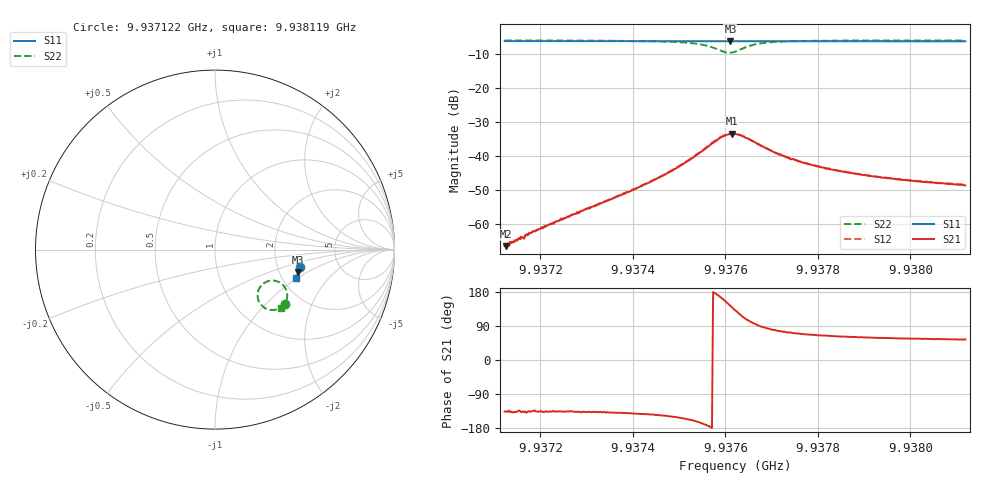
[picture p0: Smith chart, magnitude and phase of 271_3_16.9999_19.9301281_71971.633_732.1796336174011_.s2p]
#  HZ  S  RI  R  50.00
! Rohde & Schwarz Vector Network Analyzer
! Rohde-Schwarz,ZNB20-2Port,1311601062101988,3.16
! Created: UTC 3/20/2024, 11:04:12 PM
! freq[Hz]  re:S11  im:S11  re:S21  im:S21  re:S12  im:S12  re:S22  im:S22
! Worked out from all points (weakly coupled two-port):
!   401 points, 9.937122 GHz to 9.938119 GHz, reference 50 ohm
!   highest |S21| = -33.46 dB at 9.937613 GHz (marker M1); lowest = -66.4 dB at 9.937125 GHz (marker M2)
!   lowest |S11| = -6.4 dB at 9.937611 GHz (marker M3), VSWR 2.84, Z = 126 - j41.6 ohm
!   |S11| at or under -10 dB: nowhere
!   |S22| runs from -9.7 to -6.1 dB; largest |S21 - S12| = 0.00095
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9.9371225e9  0.4748 -0.0955  -0.000346 -0.000334  -0.000373 -0.000343  0.3917 -0.3025
9.9371249e9  0.4747 -0.0957  -0.000346 -0.00033  -0.000359 -0.000318  0.3914 -0.3028
9.9371598e9  0.474 -0.0981  -0.00048 -0.00044  -0.000473 -0.000416  0.3889 -0.3053
9.9371797e9  0.4736 -0.0993  -0.000532 -0.000518  -0.000565 -0.000532  0.3873 -0.3068
9.9372893e9  0.4715 -0.1069  -0.00118 -0.00105  -0.00116 -0.00107  0.3769 -0.316
9.9373964e9  0.4693 -0.114  -0.00239 -0.00198  -0.0025 -0.00195  0.3606 -0.3265
9.9374562e9  0.4679 -0.1182  -0.004 -0.00271  -0.00409 -0.00271  0.344 -0.3332
9.937506e9  0.4666 -0.1215  -0.00669 -0.00334  -0.00686 -0.0033  0.3194 -0.3368
9.9375534e9  0.4648 -0.1247  -0.0121 -0.00228  -0.0125 -0.00222  0.2744 -0.3233
9.9375858e9  0.4633 -0.1262  -0.0176 0.00325  -0.018 0.00391  0.2386 -0.2698
9.9375982e9  0.4629 -0.1265  -0.0182 0.00788  -0.0185 0.00865  0.24 -0.2333
9.9376107e9  0.4627 -0.1267  -0.0168 0.0126  -0.0167 0.0135  0.26 -0.1977
9.9376131e9  0.4627 -0.1267  -0.0163 0.0136  -0.0159 0.0143  0.2663 -0.192
9.9376206e9  0.4626 -0.127  -0.0139 0.0158  -0.0136 0.0164  0.2869 -0.1789
9.937648e9  0.4631 -0.1285  -0.00475 0.0175  -0.00421 0.0176  0.36 -0.1826
9.9376754e9  0.4632 -0.1303  0.000212 0.0145  0.000567 0.0143  0.3926 -0.2157
9.9377103e9  0.4627 -0.1329  0.0023 0.0107  0.00258 0.0108  0.4022 -0.2487
9.9377352e9  0.4622 -0.1348  0.00282 0.00891  0.00307 0.0091  0.4019 -0.2641
9.9377875e9  0.4611 -0.1384  0.00296 0.00676  0.00311 0.00677  0.3974 -0.2846
9.9378473e9  0.4597 -0.1425  0.00282 0.00535  0.00295 0.00529  0.3912 -0.2984
9.9379544e9  0.457 -0.1495  0.00249 0.004  0.0026 0.00398  0.3817 -0.3134
9.9381188e9  0.4526 -0.1602  0.00217 0.00302  0.00228 0.00305  0.3697 -0.3281
